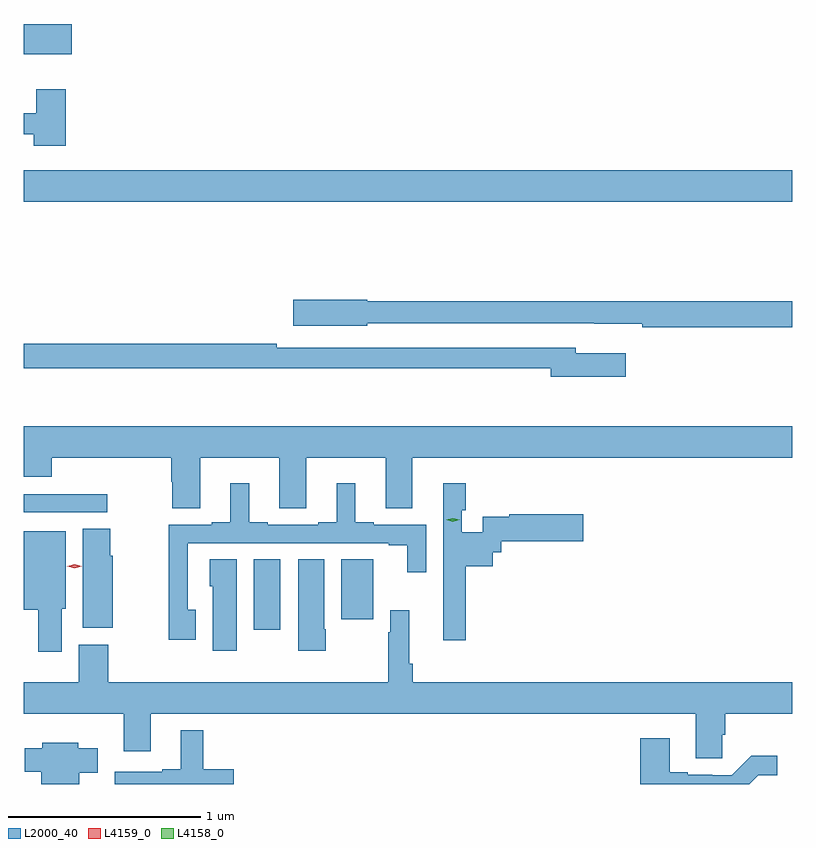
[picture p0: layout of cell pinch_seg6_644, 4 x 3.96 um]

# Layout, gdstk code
import gdstk
lib = gdstk.Library(unit=1e-6, precision=1e-09)
def R(c, l, rs):  # rectangles x0, y0, x1, y1
    for r in rs: c.add(gdstk.rectangle(r[:2], r[2:], *l))
def P(c, l, *ps):  # polygons
    for p in ps: c.add(gdstk.Polygon(p, *l))
L2000_40 = (2000, 40)
L4158_0 = (4158, 0)
L4159_0 = (4159, 0)

pinch_seg6_644 = lib.new_cell('pinch_seg6_644')
R(pinch_seg6_644, L2000_40, [(480.59,925.131,480.73,925.496), (481.046,925.185,481.213,925.496), (479.394,925.74,479.83,925.836), (479.394,927.356,483.394,927.52), (479.394,928.124,479.644,928.282)])
P(pinch_seg6_644, L2000_40, [(479.612,927.943),(479.459,927.943),(479.459,927.817),(479.394,927.817),(479.394,927.708),(479.447,927.708),(479.447,927.648),(479.612,927.648)],
  [(483.394,926.84),(481.182,926.84),(481.182,926.846),(480.798,926.846),(480.798,926.711),(481.182,926.711),(481.182,926.724),(482.362,926.724),(482.362,926.723),(482.614,926.723),(482.614,926.704),(483.394,926.704)],
  [(482.527,926.569),(482.266,926.569),(482.266,926.598),(480.71,926.598),(480.71,926.618),(479.394,926.618),(479.394,926.49),(482.138,926.49),(482.138,926.447),(482.527,926.447)],
  [(480.313,926.024),(480.725,926.024),(480.725,925.762),(480.865,925.762),(480.865,926.024),(481.277,926.024),(481.277,925.762),(481.417,925.762),(481.417,926.024),(483.394,926.024),(483.394,926.188),(479.394,926.188),(479.394,925.925),(479.54,925.925),(479.54,926.024),(480.161,926.024),(480.161,925.899),(480.166,925.899),(480.166,925.762),(480.313,925.762)],
  [(480.289,925.233),(480.249,925.233),(480.249,925.581),(481.295,925.581),(481.295,925.569),(481.391,925.569),(481.391,925.428),(481.488,925.428),(481.488,925.677),(481.216,925.677),(481.216,925.69),(481.12,925.69),(481.12,925.891),(481.022,925.891),(481.022,925.69),(480.926,925.69),(480.926,925.677),(480.664,925.677),(480.664,925.69),(480.568,925.69),(480.568,925.891),(480.47,925.891),(480.47,925.69),(480.374,925.69),(480.374,925.677),(480.148,925.677),(480.148,925.077),(480.289,925.077)],
  [(481.694,925.46),(481.834,925.46),(481.834,925.533),(481.878,925.533),(481.878,925.589),(482.305,925.589),(482.305,925.731),(481.92,925.731),(481.92,925.719),(481.782,925.719),(481.782,925.637),(481.674,925.637),(481.674,925.752),(481.694,925.752),(481.694,925.891),(481.578,925.891),(481.578,925.376),(481.577,925.376),(481.577,925.074),(481.694,925.074)],
  [(479.857,925.515),(479.844,925.515),(479.844,925.655),(479.702,925.655),(479.702,925.139),(479.857,925.139)],
  [(479.593,925.239),(479.614,925.239),(479.614,925.642),(479.394,925.642),(479.394,925.235),(479.471,925.235),(479.471,925.014),(479.593,925.014)],
  [(480.502,925.496),(480.362,925.496),(480.362,925.356),(480.377,925.356),(480.377,925.02),(480.502,925.02)],
  [(480.966,925.132),(480.958,925.132),(480.958,925.496),(480.824,925.496),(480.824,925.02),(480.966,925.02)],
  [(483.03,924.582),(483.044,924.582),(483.044,924.692),(483.394,924.692),(483.394,924.856),(481.418,924.856),(481.418,924.952),(481.4,924.952),(481.4,925.231),(481.302,925.231),(481.302,925.118),(481.29,925.118),(481.29,924.856),(479.834,924.856),(479.834,925.051),(479.681,925.051),(479.681,924.856),(479.394,924.856),(479.394,924.692),(479.915,924.692),(479.915,924.498),(480.055,924.498),(480.055,924.692),(482.891,924.692),(482.891,924.46),(483.03,924.46)],
  [(480.488,924.403),(480.329,924.403),(480.329,924.607),(480.212,924.607),(480.212,924.403),(480.116,924.403),(480.116,924.39),(479.867,924.39),(479.867,924.327),(480.488,924.327)],
  [(483.216,924.372),(483.316,924.372),(483.316,924.475),(483.181,924.475),(483.078,924.372),(482.978,924.372),(482.978,924.375),(482.851,924.375),(482.851,924.388),(482.755,924.388),(482.755,924.565),(482.603,924.565),(482.603,924.327),(483.171,924.327)],
  [(479.683,924.385),(479.779,924.385),(479.779,924.514),(479.679,924.514),(479.679,924.541),(479.49,924.541),(479.49,924.514),(479.399,924.514),(479.399,924.392),(479.486,924.392),(479.486,924.327),(479.683,924.327)])
P(pinch_seg6_644, L4158_0, [(481.628,925.691),(481.592,925.701),(481.592,925.701),(481.592,925.701),(481.628,925.711),(481.663,925.701),(481.663,925.701),(481.663,925.701)])
P(pinch_seg6_644, L4159_0, [(479.659,925.451),(479.621,925.461),(479.621,925.461),(479.621,925.461),(479.659,925.471),(479.696,925.461),(479.697,925.461),(479.696,925.461)])

lib.write_gds('pinch_seg6_644.gds')
